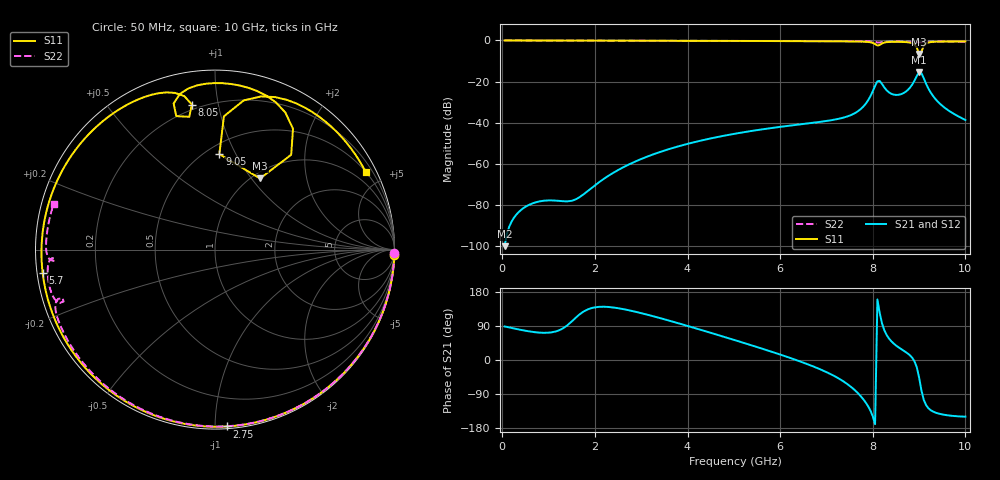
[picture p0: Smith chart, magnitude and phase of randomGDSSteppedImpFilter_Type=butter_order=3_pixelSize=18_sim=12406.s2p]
! freq	dB(S11)	phase(S11)	dB(S12)	phase(S12)
!  dB(S21)	phase(S21)	dB(S22)	phase(S22)
!S-par simulation data
#  GHz  S  DB  R 50
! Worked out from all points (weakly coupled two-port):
!   200 points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, 50 MHz to 10 GHz, reference 50 ohm
!   highest |S21| = -15.43 dB at 9 GHz (marker M1); lowest = -100.0 dB at 50 MHz (marker M2)
!   lowest |S11| = -6.6 dB at 9 GHz (marker M3), VSWR 2.77, Z = 54.3 + j55.1 ohm
!   |S11| at or under -10 dB: nowhere
!   |S22| runs from -1.0 to 0.0 dB; largest |S21 - S12| = 0
!   S11 on the Smith chart (normalised r, x): 50 MHz: 1, -69; 2.75 GHz: 0.01, -1.07; 5.7 GHz: 0.02, -0.07; 8.05 GHz: 0.17, +0.84; 9.05 GHz: 0.58, +0.86; 10 GHz: 0.51, +4.09
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0.05  -0.00 -1.7  -99.95 88.6  -99.95 88.6  -0.00 -1.2
1.45  -0.06 -46.6  -78.07 96.3  -78.07 96.3  -0.04 -32.9
1.75  -0.07 -55.9  -74.84 127.4  -74.84 127.4  -0.05 -39.5
2.75  -0.11 -86.2  -60.08 130.8  -60.08 130.8  -0.08 -61.0
3.4  -0.14 -105.2  -54.24 110.8  -54.24 110.8  -0.10 -74.3
5.05  -0.23 -152.7  -45.21 51.3  -45.21 51.3  -0.16 -106.3
5.7  -0.27 -172.2  -42.91 26.4  -42.91 26.4  -0.20 -118.3
6.7  -0.36 155.4  -40.03 -16.3  -40.03 -16.3  -0.26 -136.4
7.65  -0.52 119.3  -34.83 -84.0  -34.83 -84.0  -0.36 -153.8
7.85  -0.66 109.9  -30.69 -112.7  -30.69 -112.7  -0.41 -157.9
8.05  -1.74 99.1  -22.04 -169.5  -22.04 -169.5  -0.76 -162.6
8.15  -2.22 106.2  -19.67 124.1  -19.67 124.1  -1.00 -161.1
8.35  -0.72 96.1  -25.23 56.8  -25.23 56.8  -0.53 -164.3
8.6  -0.68 81.4  -26.18 29.9  -26.18 29.9  -0.50 -169.7
8.8  -1.04 67.5  -23.02 12.7  -23.02 12.7  -0.57 -173.9
8.95  -3.38 51.2  -17.31 -19.0  -17.31 -19.0  -0.82 -177.0
9  -6.58 57.7  -15.43 -45.8  -15.43 -45.8  -0.98 -176.8
9.05  -5.48 87.4  -15.83 -79.8  -15.83 -79.8  -0.90 -176.0
9.15  -1.45 79.1  -21.00 -118.9  -21.00 -118.9  -0.59 -177.9
9.25  -0.79 68.5  -25.28 -132.4  -25.28 -132.4  -0.53 179.6
9.55  -0.52 49.2  -32.65 -144.7  -32.65 -144.7  -0.54 173.2
10  -0.50 27.1  -38.64 -149.6  -38.64 -149.6  -0.59 164.2
